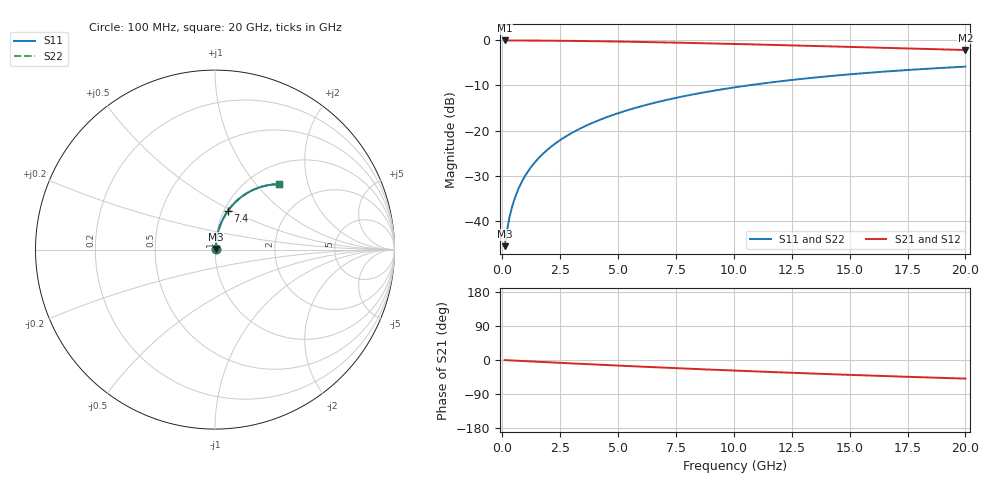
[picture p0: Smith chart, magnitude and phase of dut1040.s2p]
! Touchstone file exported from HFSS 2024.1.0
!  File:  C:/UserFiles/LocalFiles/RDL_TSV_Batchsim/temp_RDL_top_1040_1780044026.aedt
!  Generated:  04:43:07 PM May 29, 2026
!  Design:  RDL_top
!  Project:  temp_RDL_top_1040_1780044026
!  Setup:  Setup1
!  Solution:  Sweep
! Variables:
!  dtsv = 10.80580581um
!  hbump = 3um
!  htsv = 50.93um
!  ldown = 100um
!  lrdl = 660.02um
!  p = 40
!  p1 = 54.29um
!  rhole = 1um
!  t = 450um
!  tdown = 3.915915916um
!  trdl = 3.98um
!  wdown = 15.38538539um
!  wrdl = 14.48um
# GHz S MA R 50.000000
! Terminal data exported
! Port[1] = Box2_T1
! Port[2] = Box2_T2
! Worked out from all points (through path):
!   200 points, 100 MHz to 20 GHz, reference 50 ohm
!   highest |S21| = -0.04 dB at 100 MHz (marker M1); lowest = -2.1 dB at 20 GHz (marker M2)
!   group delay of S21, straight-line fit = 6.81 ps
!   lowest |S11| = -45.5 dB at 100 MHz (marker M3), VSWR 1.01, Z = 50.4 + j0.331 ohm
!   |S11| at or under -10 dB: start of sweep to 10.59 GHz
!   |S22| runs from -45.5 to -5.8 dB; largest |S21 - S12| = 2.5e-15
!   S11 on the Smith chart (normalised r, x): 100 MHz: 1.01, +0.01; 7.4 GHz: 1.04, +0.48; 20 GHz: 1.36, +1.34
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0.1  0.005282 38.4  0.9959 -0.3  0.9959 -0.3  0.005282 38.4
! Gamma 0 0 0 0
! Port Impedance 50 0 50 0
0.2  0.007798 56.9  0.9957 -0.6  0.9957 -0.6  0.007798 56.9
0.3  0.01069 65.5  0.9956 -0.9  0.9956 -0.9  0.01069 65.5
0.4  0.01368 70.3  0.9954 -1.2  0.9954 -1.2  0.01368 70.3
0.5  0.01672 73.3  0.9952 -1.5  0.9952 -1.5  0.01672 73.3
0.6  0.01977 75.3  0.995 -1.8  0.995 -1.8  0.01977 75.3
0.8  0.02591 77.8  0.9946 -2.4  0.9946 -2.4  0.02591 77.8
1.1  0.03518 79.8  0.9938 -3.4  0.9938 -3.4  0.03518 79.8
1.5  0.04761 80.8  0.9926 -4.6  0.9926 -4.6  0.04761 80.8
1.8  0.05696 81.1  0.9914 -5.5  0.9914 -5.5  0.05696 81.1
2.1  0.06632 81.1  0.9901 -6.3  0.9901 -6.3  0.06632 81.1
2.7  0.08503 80.6  0.9869 -8.1  0.9869 -8.1  0.08503 80.6
3.5  0.1099 79.5  0.9816 -10.5  0.9816 -10.5  0.1099 79.5
4.2  0.1316 78.2  0.976 -12.5  0.976 -12.5  0.1316 78.2
5  0.1562 76.7  0.9689 -14.8  0.9689 -14.8  0.1562 76.7
6.8  0.2103 72.9  0.9502 -19.7  0.9502 -19.7  0.2104 72.9
7.4  0.2279 71.5  0.9434 -21.3  0.9434 -21.3  0.228 71.6
8.7  0.2651 68.7  0.9278 -24.6  0.9278 -24.6  0.2651 68.7
10.1  0.3033 65.5  0.9101 -28.1  0.9101 -28.1  0.3034 65.5
13.4  0.3851 58.3  0.8666 -35.8  0.8666 -35.8  0.3853 58.3
16.7  0.4543 51.6  0.8229 -42.8  0.8229 -42.8  0.4545 51.6
20  0.5113 45.5  0.7809 -49.1  0.7809 -49.1  0.5115 45.5
